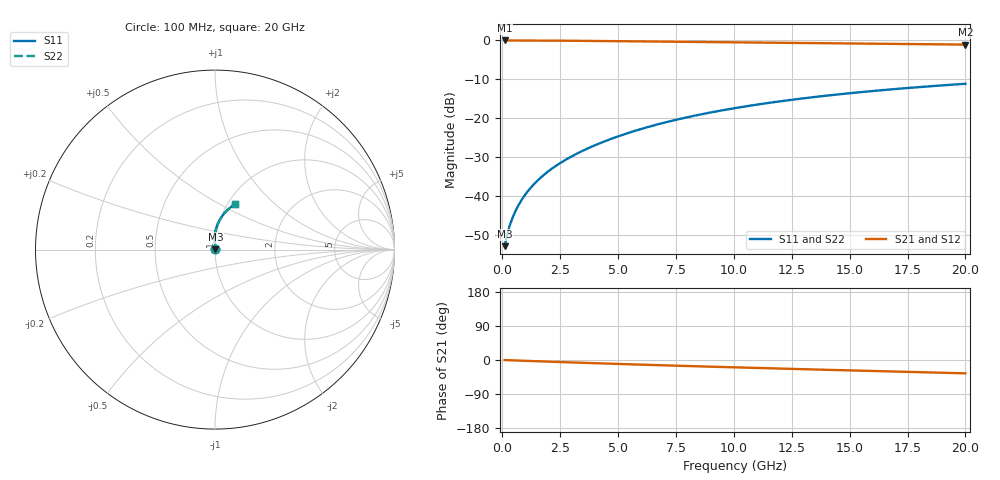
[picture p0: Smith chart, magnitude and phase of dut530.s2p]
! Touchstone file exported from HFSS 2024.1.0
!  File:  C:/UserFiles/LocalFiles/RDL_TSV_Batchsim/temp_RDL_bottom_530_1779688488.aedt
!  Generated:  01:56:51 PM May 25, 2026
!  Design:  RDL_bottom
!  Project:  temp_RDL_bottom_530_1779688488
!  Setup:  Setup1
!  Solution:  Sweep
! Variables:
!  dtsv = 10.80580581um
!  hbump = 3um
!  htsv = 61.03um
!  ldown = 529.13um
!  lrdl = 100um
!  p = 40
!  p1 = 50.1um
!  rhole = 1um
!  t = 450um
!  tdown = 3.94um
!  trdl = 3.915915916um
!  wdown = 28.05um
!  wrdl = 20um
# GHz S MA R 50.000000
! Terminal data exported
! Port[1] = RDL1_T1
! Port[2] = RDL1_T2
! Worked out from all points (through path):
!   200 points, 100 MHz to 20 GHz, reference 50 ohm
!   highest |S21| = -0.02 dB at 100 MHz (marker M1); lowest = -1.1 dB at 20 GHz (marker M2)
!   group delay of S21, straight-line fit = 4.8 ps
!   lowest |S11| = -52.8 dB at 100 MHz (marker M3), VSWR 1.00, Z = 50.2 + j0.125 ohm
!   |S11| at or under -10 dB: start of sweep to end of sweep
!   |S22| runs from -52.8 to -11.1 dB; largest |S21 - S12| = 2.6e-15
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0.1  0.0023 32.6  0.998 -0.2  0.998 -0.2  0.0023 32.6
! Gamma 0 0 0 0
! Port Impedance 50 0 50 0
0.2  0.00315 48.5  0.9979 -0.5  0.9979 -0.5  0.00315 48.5
0.3  0.004039 56.9  0.9977 -0.7  0.9977 -0.7  0.004039 56.9
0.4  0.004931 62.6  0.9975 -0.9  0.9975 -0.9  0.004931 62.6
0.5  0.005836 66.9  0.9973 -1.1  0.9973 -1.1  0.005837 66.9
0.6  0.006761 70.2  0.9972 -1.3  0.9972 -1.3  0.006761 70.2
0.8  0.008662 75.1  0.9968 -1.8  0.9968 -1.8  0.008663 75.1
1  0.01062 78.5  0.9964 -2.2  0.9964 -2.2  0.01062 78.5
1.2  0.01263 81.0  0.996 -2.6  0.996 -2.6  0.01263 81.0
1.7  0.01785 85.1  0.9945 -3.7  0.9945 -3.7  0.01784 85.1
2.2  0.02331 87.7  0.9927 -4.8  0.9927 -4.8  0.02331 87.6
2.8  0.03022 89.7  0.99 -6.0  0.99 -6.0  0.03022 89.6
3.5  0.03878 91.0  0.9863 -7.5  0.9863 -7.5  0.03876 90.9
4.2  0.04786 91.6  0.9821 -8.9  0.9821 -8.9  0.04783 91.6
5  0.05881 91.7  0.9771 -10.4  0.9771 -10.4  0.05877 91.6
6.8  0.08516 90.3  0.9649 -13.8  0.9649 -13.8  0.08508 90.2
8.4  0.1098 87.9  0.9541 -16.6  0.9541 -16.6  0.1096 87.8
10.1  0.1363 84.8  0.943 -19.5  0.943 -19.5  0.1361 84.7
11.7  0.161 81.7  0.9329 -22.2  0.9329 -22.2  0.1608 81.7
13.4  0.1867 78.4  0.9224 -24.9  0.9224 -24.9  0.1865 78.3
16.7  0.2342 72.1  0.9027 -30.1  0.9027 -30.1  0.2339 72.0
20  0.2778 66.1  0.8833 -35.2  0.8833 -35.2  0.2774 66.1
